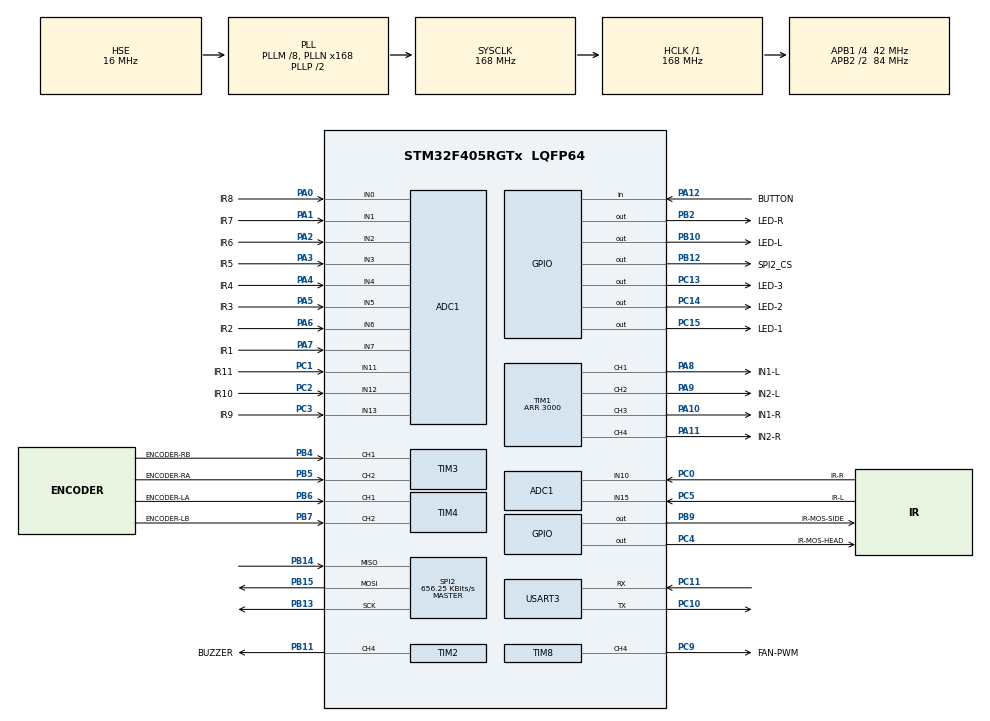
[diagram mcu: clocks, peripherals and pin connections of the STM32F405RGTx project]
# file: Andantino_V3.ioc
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ADC1.Channel-0\#ChannelRegularConversion=ADC_CHANNEL_15
ADC1.Channel-29\#ChannelRegularConversion=ADC_CHANNEL_7
ADC1.Channel-30\#ChannelRegularConversion=ADC_CHANNEL_6
ADC1.Channel-31\#ChannelRegularConversion=ADC_CHANNEL_5
ADC1.Channel-32\#ChannelRegularConversion=ADC_CHANNEL_4
ADC1.Channel-33\#ChannelRegularConversion=ADC_CHANNEL_3
ADC1.Channel-34\#ChannelRegularConversion=ADC_CHANNEL_2
ADC1.Channel-35\#ChannelRegularConversion=ADC_CHANNEL_1
ADC1.Channel-36\#ChannelRegularConversion=ADC_CHANNEL_0
ADC1.Channel-37\#ChannelRegularConversion=ADC_CHANNEL_13
ADC1.Channel-38\#ChannelRegularConversion=ADC_CHANNEL_12
ADC1.Channel-39\#ChannelRegularConversion=ADC_CHANNEL_11
ADC1.Channel-40\#ChannelRegularConversion=ADC_CHANNEL_10
ADC1.ContinuousConvMode=DISABLE
ADC1.DiscontinuousConvMode=ENABLE
ADC1.NbrOfConversion=13
ADC1.NbrOfConversionFlag=1
ADC1.Rank-0\#ChannelRegularConversion=1
ADC1.Rank-29\#ChannelRegularConversion=2
ADC1.Rank-30\#ChannelRegularConversion=3
ADC1.Rank-31\#ChannelRegularConversion=4
ADC1.Rank-32\#ChannelRegularConversion=5
ADC1.Rank-33\#ChannelRegularConversion=6
ADC1.Rank-34\#ChannelRegularConversion=7
ADC1.Rank-35\#ChannelRegularConversion=8
ADC1.Rank-36\#ChannelRegularConversion=9
ADC1.Rank-37\#ChannelRegularConversion=10
ADC1.Rank-38\#ChannelRegularConversion=11
ADC1.Rank-39\#ChannelRegularConversion=12
ADC1.Rank-40\#ChannelRegularConversion=13
ADC1.SamplingTime-0\#ChannelRegularConversion=ADC_SAMPLETIME_15CYCLES
ADC1.SamplingTime-29\#ChannelRegularConversion=ADC_SAMPLETIME_15CYCLES
ADC1.SamplingTime-30\#ChannelRegularConversion=ADC_SAMPLETIME_15CYCLES
ADC1.SamplingTime-31\#ChannelRegularConversion=ADC_SAMPLETIME_15CYCLES
ADC1.SamplingTime-32\#ChannelRegularConversion=ADC_SAMPLETIME_15CYCLES
ADC1.SamplingTime-33\#ChannelRegularConversion=ADC_SAMPLETIME_15CYCLES
ADC1.SamplingTime-34\#ChannelRegularConversion=ADC_SAMPLETIME_15CYCLES
ADC1.SamplingTime-35\#ChannelRegularConversion=ADC_SAMPLETIME_15CYCLES
ADC1.SamplingTime-36\#ChannelRegularConversion=ADC_SAMPLETIME_15CYCLES
ADC1.SamplingTime-37\#ChannelRegularConversion=ADC_SAMPLETIME_15CYCLES
ADC1.SamplingTime-38\#ChannelRegularConversion=ADC_SAMPLETIME_15CYCLES
ADC1.SamplingTime-39\#ChannelRegularConversion=ADC_SAMPLETIME_15CYCLES
ADC1.SamplingTime-40\#ChannelRegularConversion=ADC_SAMPLETIME_15CYCLES
ADC1.ScanConvMode=ENABLE
ADC1.master=1
Mcu.Family=STM32F4
Mcu.Name=STM32F405RGTx
Mcu.Package=LQFP64
NVIC.PriorityGroup=NVIC_PRIORITYGROUP_4
NVIC.TIM1_UP_TIM10_IRQn=true\:0\:0\:false\:false\:true\:true\:true\:true
PA0-WKUP.GPIO_Label=IR8
PA0-WKUP.Signal=ADCx_IN0
PA1.GPIO_Label=IR7
PA1.Signal=ADCx_IN1
PA10.GPIO_Label=IN1-R
PA10.Signal=S_TIM1_CH3
PA11.GPIO_Label=IN2-R
PA11.Signal=S_TIM1_CH4
PA12.GPIO_Label=BUTTON
PA12.GPIO_PuPd=GPIO_PULLUP
PA12.Signal=GPIO_Input
PA13.Mode=Serial_Wire
PA13.Signal=SYS_JTMS-SWDIO
PA14.Mode=Serial_Wire
PA14.Signal=SYS_JTCK-SWCLK
PA2.GPIO_Label=IR6
PA2.Signal=ADCx_IN2
PA3.GPIO_Label=IR5
PA3.Signal=ADCx_IN3
PA4.GPIO_Label=IR4
PA4.Signal=ADCx_IN4
PA5.GPIO_Label=IR3
PA5.Signal=ADCx_IN5
PA6.GPIO_Label=IR2
PA6.Signal=ADCx_IN6
PA7.GPIO_Label=IR1
PA7.Signal=ADCx_IN7
PA8.GPIO_Label=IN1-L
PA8.Signal=S_TIM1_CH1
PA9.GPIO_Label=IN2-L
PA9.Signal=S_TIM1_CH2
PB10.GPIO_Label=LED-L
PB10.Signal=GPIO_Output
PB11.GPIO_Label=BUZZER
PB11.Signal=S_TIM2_CH4
PB12.GPIO_Label=SPI2_CS
PB12.Signal=GPIO_Output
PB13.Mode=Full_Duplex_Master
PB13.Signal=SPI2_SCK
PB14.Mode=Full_Duplex_Master
PB14.Signal=SPI2_MISO
PB15.Mode=Full_Duplex_Master
PB15.Signal=SPI2_MOSI
PB2.GPIO_Label=LED-R
PB2.Signal=GPIO_Output
PB4.GPIO_Label=ENCODER-RB
PB4.Signal=S_TIM3_CH1
PB5.GPIO_Label=ENCODER-RA
PB5.Signal=S_TIM3_CH2
PB6.GPIO_Label=ENCODER-LA
PB6.Signal=S_TIM4_CH1
PB7.GPIO_Label=ENCODER-LB
PB7.Signal=S_TIM4_CH2
PB9.GPIO_Label=IR-MOS-SIDE
PB9.Signal=GPIO_Output
PC0.GPIO_Label=IR-R
PC0.Signal=ADCx_IN10
PC1.GPIO_Label=IR11
PC1.Signal=ADCx_IN11
PC10.Mode=Asynchronous
PC10.Signal=USART3_TX
PC11.Mode=Asynchronous
PC11.Signal=USART3_RX
PC13-ANTI_TAMP.GPIO_Label=LED-3
PC13-ANTI_TAMP.Signal=GPIO_Output
PC14-OSC32_IN.GPIO_Label=LED-2
PC14-OSC32_IN.Signal=GPIO_Output
PC15-OSC32_OUT.GPIO_Label=LED-1
PC15-OSC32_OUT.Signal=GPIO_Output
PC2.GPIO_Label=IR10
PC2.Signal=ADCx_IN12
PC3.GPIO_Label=IR9
PC3.Signal=ADCx_IN13
PC4.GPIO_Label=IR-MOS-HEAD
PC4.Signal=GPIO_Output
PC5.GPIO_Label=IR-L
PC5.Signal=ADCx_IN15
PC9.GPIO_Label=FAN-PWM
PC9.Signal=S_TIM8_CH4
PH0-OSC_IN.Mode=HSE-External-Oscillator
PH0-OSC_IN.Signal=RCC_OSC_IN
PH1-OSC_OUT.Mode=HSE-External-Oscillator
PH1-OSC_OUT.Signal=RCC_OSC_OUT
ProjectManager.HeapSize=0x200
ProjectManager.StackSize=0x400
ProjectManager.TargetToolchain=Makefile
RCC.48MHZClocksFreq_Value=84000000
RCC.AHBFreq_Value=168000000
RCC.APB1CLKDivider=RCC_HCLK_DIV4
RCC.APB1Freq_Value=42000000
RCC.APB1TimFreq_Value=84000000
RCC.APB2CLKDivider=RCC_HCLK_DIV2
RCC.APB2Freq_Value=84000000
RCC.APB2TimFreq_Value=168000000
RCC.CortexFreq_Value=168000000
RCC.HCLKFreq_Value=168000000
RCC.HSE_VALUE=16000000
RCC.HSI_VALUE=16000000
RCC.LSE_VALUE=32768
RCC.PLLM=8
RCC.PLLN=168
RCC.PLLSourceVirtual=RCC_PLLSOURCE_HSE
RCC.SYSCLKFreq_VALUE=168000000
RCC.SYSCLKSource=RCC_SYSCLKSOURCE_PLLCLK
RCC.VCOOutputFreq_Value=336000000
SH.ADCx_IN0.0=ADC1_IN0,IN0
SH.ADCx_IN1.0=ADC1_IN1,IN1
SH.ADCx_IN10.0=ADC1_IN10,IN10
SH.ADCx_IN11.0=ADC1_IN11,IN11
SH.ADCx_IN12.0=ADC1_IN12,IN12
SH.ADCx_IN13.0=ADC1_IN13,IN13
SH.ADCx_IN15.0=ADC1_IN15,IN15
SH.ADCx_IN2.0=ADC1_IN2,IN2
SH.ADCx_IN3.0=ADC1_IN3,IN3
SH.ADCx_IN4.0=ADC1_IN4,IN4
SH.ADCx_IN5.0=ADC1_IN5,IN5
SH.ADCx_IN6.0=ADC1_IN6,IN6
SH.ADCx_IN7.0=ADC1_IN7,IN7
SH.S_TIM1_CH1.0=TIM1_CH1,PWM Generation1 CH1
SH.S_TIM1_CH2.0=TIM1_CH2,PWM Generation2 CH2
SH.S_TIM1_CH3.0=TIM1_CH3,PWM Generation3 CH3
SH.S_TIM1_CH4.0=TIM1_CH4,PWM Generation4 CH4
SH.S_TIM2_CH4.0=TIM2_CH4,PWM Generation4 CH4
SH.S_TIM3_CH1.0=TIM3_CH1,Encoder_Interface
SH.S_TIM3_CH2.0=TIM3_CH2,Encoder_Interface
SH.S_TIM4_CH1.0=TIM4_CH1,Encoder_Interface
SH.S_TIM4_CH2.0=TIM4_CH2,Encoder_Interface
SH.S_TIM8_CH4.0=TIM8_CH4,PWM Generation4 CH4
SPI2.BaudRatePrescaler=SPI_BAUDRATEPRESCALER_64
SPI2.CalculateBaudRate=656.25 KBits/s
SPI2.Direction=SPI_DIRECTION_2LINES
SPI2.Mode=SPI_MODE_MASTER
SPI2.VirtualType=VM_MASTER
TIM1.Channel-PWM\ Generation1\ CH1=TIM_CHANNEL_1
TIM1.Channel-PWM\ Generation2\ CH2=TIM_CHANNEL_2
TIM1.Channel-PWM\ Generation3\ CH3=TIM_CHANNEL_3
TIM1.Channel-PWM\ Generation4\ CH4=TIM_CHANNEL_4
TIM1.OCFastMode_PWM-PWM\ Generation1\ CH1=TIM_OCFAST_ENABLE
TIM1.OCFastMode_PWM-PWM\ Generation2\ CH2=TIM_OCFAST_ENABLE
TIM1.OCFastMode_PWM-PWM\ Generation3\ CH3=TIM_OCFAST_ENABLE
TIM1.OCFastMode_PWM-PWM\ Generation4\ CH4=TIM_OCFAST_ENABLE
TIM1.Period=3000
TIM10.Period=1000-1
TIM10.Prescaler=168-1
TIM2.Channel-PWM\ Generation4\ CH4=TIM_CHANNEL_4
TIM2.Period=1000
TIM2.Pulse-PWM\ Generation4\ CH4=500
TIM3.CounterMode=TIM_COUNTERMODE_UP
TIM3.EncoderMode=TIM_ENCODERMODE_TI12
TIM3.IC1Filter=0
TIM3.IC2Filter=6
TIM4.CounterMode=TIM_COUNTERMODE_UP
TIM4.EncoderMode=TIM_ENCODERMODE_TI12
TIM4.IC1Filter=6
TIM8.Channel-PWM\ Generation4\ CH4=TIM_CHANNEL_4
TIM8.OCFastMode_PWM-PWM\ Generation4\ CH4=TIM_OCFAST_ENABLE
TIM8.Period=3000
USART3.VirtualMode=VM_ASYNC
VP_TIM10_VS_ClockSourceINT.Mode=Enable_Timer
VP_TIM1_VS_ClockSourceINT.Mode=Internal
board=custom

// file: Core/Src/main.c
/* USER CODE BEGIN Header */
/**
  ******************************************************************************
  * @file           : main.c
  * @brief          : Main program body
  ******************************************************************************
  * @attention
  *
  * Copyright (c) 2026 STMicroelectronics.
  * All rights reserved.
  *
  * This software is licensed under terms that can be found in the LICENSE file
  * in the root directory of this software component.
  * If no LICENSE file comes with this software, it is provided AS-IS.
  *
  ******************************************************************************
  */
/* USER CODE END Header */
#include "main.h"
#include "adc.h"
#include "spi.h"
#include "tim.h"
#include "usart.h"
#include "gpio.h"

/* USER CODE BEGIN Includes */
#include "ir_sensor.h"      // ← 加這行，引入 IR 感測器模組的標頭，取得常數、extern 變數宣告與 API 原型
#include <stdio.h>      // ⭐ snprintf
#include <string.h>     // ⭐ strlen（這個其實用不到，但帶著保險）
/* USER CODE END Includes */

void SystemClock_Config(void);

int main(void)
{

  /* MCU Configuration--------------------------------------------------------*/

  /* Reset of all peripherals, Initializes the Flash interface and the Systick. */
  HAL_Init();

  /* Configure the system clock */
  SystemClock_Config();

  /* Initialize all configured peripherals */
  MX_GPIO_Init();
  MX_ADC1_Init();
  MX_SPI2_Init();
  MX_TIM1_Init();
  MX_TIM2_Init();
  MX_TIM3_Init();
  MX_TIM4_Init();
  MX_TIM8_Init();
  MX_USART3_UART_Init();
  MX_TIM10_Init();
  /* USER CODE BEGIN 2 */

  IR_Init();

  /* === 開機校正流程 ===
   * 校正期間請手動操作車身：
   *   1. 車頭左右擺動，讓 IR[1]~IR[11] 都壓過白線（推 Max）
   *   2. ⭐ 車身側邊也要掃過 marker 區，讓 IR[0]/IR[12] 看到 marker（推 Max）
   *   3. 在黑底靜止幾下，讓所有 IR 看到黑底（壓 Min）
   * 沒做到第 2 步 → IR_Nor[0]/[12] 會被防呆鎖在 500 → marker 永遠不觸發
   */
  HAL_GPIO_WritePin(LED_1_GPIO_Port, LED_1_Pin, GPIO_PIN_SET);

  uint32_t cal_start = HAL_GetTick();
  while (HAL_GetTick() - cal_start < 5000)
  {
      IR_Calibrate();
      HAL_Delay(10);
  }

  HAL_GPIO_WritePin(LED_1_GPIO_Port, LED_1_Pin, GPIO_PIN_RESET);

  /* ⭐ 校正結束後同步 marker 初始狀態（從 IR_Init() 搬過來）：
   *    用 IR_Nor[]（已正規化）而非 raw IR[]，避免主迴圈第一輪
   *    若車身正好停在 marker 上時誤判為 rising edge。
   *    LED 條件也跟主迴圈一致（IR_ReadAll，HEAD+SIDE 同時亮）。*/
  IR_ReadAll();
  IR_Normalize();
  IR_Marker_L_State = (IR_Nor[IR_IDX_SIDE_L] > MARKER_THRESHOLD) ? 1 : 0;
  IR_Marker_R_State = (IR_Nor[IR_IDX_SIDE_R] > MARKER_THRESHOLD) ? 1 : 0;
  IR_Marker_L_Count = 0;
  IR_Marker_R_Count = 0;

  /*第一版測試：開機後直接進入主迴圈，讀值送到 VOFA+，觀察是否能正常讀到 IR 值（黑線 vs 白線）
   * 注意：此時還沒有校正，IR_Max=0/IR_Min=4095 的保護機制會讓 IR_Nor 全部回 500，PID 看起來是「中間」狀態（注意：故意跟 MARKER_THRESHOLD=600 錯開）。
    * 這樣做的好處是「開箱即用」，不需要特別的校正動作就能看到數值變化，方便測試與調整硬體（例如 LED 亮度、感測距離）。
    * 缺點是如果環境光條件變化很大，或是 LED 亮度不夠，可能會導致 IR_Nor 的變化範圍過小，影響 PID 表現。
    * 如果要改成「必須校正後才能得到有效值」，可以在 IR_Init() 裡面直接呼叫 IR_Calibrate()，或者在 main() 的開頭加上校正流程（例如開機後 LED 亮起，提示使用者把車身在黑線上方掃動幾秒鐘）。
  */
  /*  IR_Init();*/
  /* === 開機校正流程 === */
  // LED_1 亮起，提示「現在開始校正，請把車身在黑線上方掃動 5 秒」
  /*
  HAL_GPIO_WritePin(LED_1_GPIO_Port, LED_1_Pin, GPIO_PIN_SET);

  uint32_t cal_start = HAL_GetTick();
  while (HAL_GetTick() - cal_start < 5000)   // 5 秒
  {
      IR_Calibrate();   // 不斷讀值並更新 Max/Min
      HAL_Delay(10);    // 100 Hz 校正取樣
  }

  HAL_GPIO_WritePin(LED_1_GPIO_Port, LED_1_Pin, GPIO_PIN_RESET);  // LED 熄滅 = 校正完成
  */
  /* USER CODE END 2 */

  /* Infinite loop */
  while (1)
  {

    /* USER CODE BEGIN 3 */

    /*第六版測試：在第五版基礎上加入側邊 IR_Nor[0]/[12] 輸出，
     *           用於驗證側邊正規化能跑滿 0~1000。
     *           VOFA+ 通道對應：
     *             I0~I10 = IR_Nor[1..11]（車頭）
     *             I11    = IR_Nor[0]      ⭐ 側邊左
     *             I12    = IR_Nor[12]     ⭐ 側邊右
     *             I13    = Marker_L_Count
     *             I14    = Marker_R_Count
     *           驗證完成、threshold 也微調好後，可拆回第五版（13 通道）。*/
    IR_ReadAll();
    IR_Normalize();
    IR_DetectMarker();

    char buf[200];
    int len = snprintf(buf, sizeof(buf),
                       "%u,%u,%u,%u,%u,%u,%u,%u,%u,%u,%u,%u,%u,%u,%u\n",   // 15 個 %u
                       IR_Nor[1],  IR_Nor[2],  IR_Nor[3],  IR_Nor[4],
                       IR_Nor[5],  IR_Nor[6],  IR_Nor[7],  IR_Nor[8],
                       IR_Nor[9],  IR_Nor[10], IR_Nor[11],
                       IR_Nor[0], IR_Nor[12],
                       IR_Marker_L_Count, IR_Marker_R_Count);

    HAL_UART_Transmit(&huart3, (uint8_t*)buf, len, 100);

    HAL_Delay(20);  // 50 Hz 更新率，VOFA+ 顯示流暢度剛好

    /*第五版測試：HEAD 跟 SIDE 合併成一次 IR_ReadAll，
     *           省下重複的 50us settle 跟 13 次 ADC 轉換。
     *           前提：硬體確認 HEAD/SIDE IR 不互相串擾。*/
    /*
    IR_ReadAll();          // 一次讀完 IR[0..12]
    IR_Normalize();        // 正規化 HEAD (IR[1..11] → IR_Nor[1..11])
    IR_DetectMarker();     // ⭐ 用 IR[0]/IR[12] 偵測左右 marker
    */

    /* VOFA+ 輸出：HEAD 正規化值 + 左右 marker 計數 */
    /*
    char buf[160];
    int len = snprintf(buf, sizeof(buf),
                       "%u,%u,%u,%u,%u,%u,%u,%u,%u,%u,%u,%u,%u\n",
                       IR_Nor[1],  IR_Nor[2],  IR_Nor[3],  IR_Nor[4],
                       IR_Nor[5],  IR_Nor[6],  IR_Nor[7],  IR_Nor[8],
                       IR_Nor[9],  IR_Nor[10], IR_Nor[11],
                       IR[0], IR[12],                          // ⭐ side IR 原始值
                       IR_Marker_L_Count, IR_Marker_R_Count);  // marker 計數

    HAL_UART_Transmit(&huart3, (uint8_t*)buf, len, 100);

    HAL_Delay(20);  // 50 Hz 更新率，VOFA+ 顯示流暢度剛好
    */

    /*第四版測試（保留作參考）：HEAD/SIDE 分開讀，避免可能的光學串擾。
     *                          實測無干擾後，改由第五版合併成單一 IR_ReadAll。*/
    /*
    IR_ReadHead();         // 讀車頭
    IR_Normalize();        // 正規化 HEAD
    IR_ReadSide();         // 讀側邊
    IR_DetectMarker();     // ⭐ 偵測 marker（用 edge detection）
    */
    /* VOFA+ 輸出：HEAD 正規化值 + 左右 marker 計數 */
    /*
    char buf[160];
    int len = snprintf(buf, sizeof(buf),
                       "%u,%u,%u,%u,%u,%u,%u,%u,%u,%u,%u,%u,%u\n",
                       IR_Nor[1],  IR_Nor[2],  IR_Nor[3],  IR_Nor[4],
                       IR_Nor[5],  IR_Nor[6],  IR_Nor[7],  IR_Nor[8],
                       IR_Nor[9],  IR_Nor[10], IR_Nor[11],
                       IR_Marker_L_Count, IR_Marker_R_Count);

    HAL_UART_Transmit(&huart3, (uint8_t*)buf, len, 100);

    HAL_Delay(20);  // 50 Hz 更新率，VOFA+ 顯示流暢度剛好
    */

    /*第三版測試 : 模擬實際循跡時的真實時序，讀值送到 VOFA+，並觀察正規化後的輸出是否穩定在 0~1000 範圍內 */
    /*
    IR_ReadHead();      // 1. 讀車頭原始值
    IR_Normalize();     // 2. ⭐ 立刻正規化（給後續 PID/marker 用）
    IR_ReadSide();      // 3. 讀側邊（marker 偵測用，不正規化）
    */
    /* === VOFA+ 輸出正規化後的值，觀察是否每顆 IR 都能 0~1000 全範圍變化 === */
    /*
    char buf[128];
    int len = snprintf(buf, sizeof(buf),
                       "%u,%u,%u,%u,%u,%u,%u,%u,%u,%u,%u,%u,%u\n",
                       IR_Nor[0],  IR_Nor[1],  IR_Nor[2],  IR_Nor[3],  IR_Nor[4],
                       IR_Nor[5],  IR_Nor[6],  IR_Nor[7],  IR_Nor[8],  IR_Nor[9],
                       IR_Nor[10], IR_Nor[11], IR_Nor[12]);

    HAL_UART_Transmit(&huart3, (uint8_t*)buf, len, 100);

    HAL_Delay(20);  // 50 Hz 更新率，VOFA+ 顯示流暢度剛好
    */

    /*第二版測試：分開讀車頭/側邊，模擬實際循跡時的真實時序，並把讀值送到 VOFA+ */
    /* ⭐ 分開讀，避免 HEAD/SIDE 互相干擾，
     *    這也比較接近實際循跡時的真實時序 */

    /* IR_ReadHead();   // 只開 HEAD MOSFET → 讀 IR[1]~IR[11]
    IR_ReadSide();   // 只開 SIDE MOSFET → 讀 IR[0], IR[12]
    */
    /* 兩次讀取之間中間有極短的「兩邊都暗」空檔，
     * 對 ADC 讀值無害，反而能讓 LED 散熱 */

    /* === 組裝 FireWater 字串：13 個值 === */
    /*char buf[128];
    int len = snprintf(buf, sizeof(buf),
                       "%u,%u,%u,%u,%u,%u,%u,%u,%u,%u,%u,%u,%u\n",
                       IR[0],  IR[1],  IR[2],  IR[3],  IR[4],
                       IR[5],  IR[6],  IR[7],  IR[8],  IR[9],
                       IR[10], IR[11], IR[12]);

    HAL_UART_Transmit(&huart3, (uint8_t*)buf, len, 100);

    HAL_Delay(20);  // 50 Hz 更新率，VOFA+ 顯示流暢度剛好
    */

    /*第一版測試：一次讀全部 13 顆，方便 debug 時觀察所有值
     * IR_ReadAll();        // 一次讀 13 顆，方便 debug 時觀察所有值
     * HAL_Delay(100);      // 100ms 讀一次，debug 期間夠用了
     */
    /*
    IR_ReadAll();   // 讀 13 顆 IR
    */
    /* === 組裝 FireWater 字串：val1,val2,...,val13\n === */
    /*
    char buf[128];                                                  // 13 個 4 位數 + 12 個逗號 + \n + 餘裕 ≈ 65 bytes，128 安全
    int len = snprintf(buf, sizeof(buf),
                       "%u,%u,%u,%u,%u,%u,%u,%u,%u,%u,%u,%u,%u\n",
                       IR[0],  IR[1],  IR[2],  IR[3],  IR[4],
                       IR[5],  IR[6],  IR[7],  IR[8],  IR[9],
                       IR[10], IR[11], IR[12]);

    HAL_UART_Transmit(&huart3, (uint8_t*)buf, len, 100);             // 阻塞式傳送，timeout 100ms

    HAL_Delay(20);  // 50 Hz 更新率，VOFA+ 顯示流暢度剛好
    */
    /*
    IR_ReadAll();        // 一次讀 13 顆，方便 debug 時觀察所有值
    HAL_Delay(100);      // 100ms 讀一次，debug 期間夠用了
    */
    }
  /* USER CODE END 3 */
}

void SystemClock_Config(void)
{
  RCC_OscInitTypeDef RCC_OscInitStruct = {0};
  RCC_ClkInitTypeDef RCC_ClkInitStruct = {0};

  /** Configure the main internal regulator output voltage
  */
  __HAL_RCC_PWR_CLK_ENABLE();
  __HAL_PWR_VOLTAGESCALING_CONFIG(PWR_REGULATOR_VOLTAGE_SCALE1);

  /** Initializes the RCC Oscillators according to the specified parameters
  * in the RCC_OscInitTypeDef structure.
  */
  RCC_OscInitStruct.OscillatorType = RCC_OSCILLATORTYPE_HSE;
  RCC_OscInitStruct.HSEState = RCC_HSE_ON;
  RCC_OscInitStruct.PLL.PLLState = RCC_PLL_ON;
  RCC_OscInitStruct.PLL.PLLSource = RCC_PLLSOURCE_HSE;
  RCC_OscInitStruct.PLL.PLLM = 8;
  RCC_OscInitStruct.PLL.PLLN = 168;
  RCC_OscInitStruct.PLL.PLLP = RCC_PLLP_DIV2;
  RCC_OscInitStruct.PLL.PLLQ = 4;
  if (HAL_RCC_OscConfig(&RCC_OscInitStruct) != HAL_OK)
  {
    Error_Handler();
  }

  /** Initializes the CPU, AHB and APB buses clocks
  */
  RCC_ClkInitStruct.ClockType = RCC_CLOCKTYPE_HCLK|RCC_CLOCKTYPE_SYSCLK
                              |RCC_CLOCKTYPE_PCLK1|RCC_CLOCKTYPE_PCLK2;
  RCC_ClkInitStruct.SYSCLKSource = RCC_SYSCLKSOURCE_PLLCLK;
  RCC_ClkInitStruct.AHBCLKDivider = RCC_SYSCLK_DIV1;
  RCC_ClkInitStruct.APB1CLKDivider = RCC_HCLK_DIV4;
  RCC_ClkInitStruct.APB2CLKDivider = RCC_HCLK_DIV2;

  if (HAL_RCC_ClockConfig(&RCC_ClkInitStruct, FLASH_LATENCY_5) != HAL_OK)
  {
    Error_Handler();
  }
}

void Error_Handler(void)
{
  __disable_irq();
  while (1)
  {
  }
}
